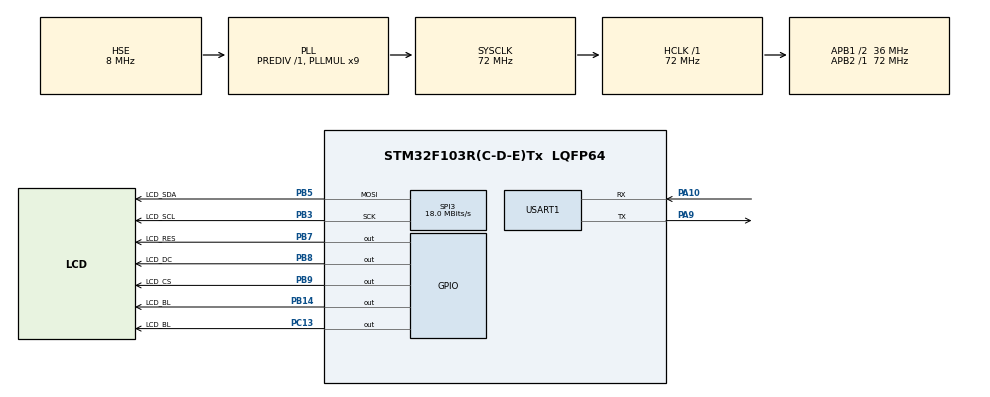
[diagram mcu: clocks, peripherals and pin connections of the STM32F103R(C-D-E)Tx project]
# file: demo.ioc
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Mcu.Family=STM32F1
Mcu.Name=STM32F103R(C-D-E)Tx
Mcu.Package=LQFP64
NVIC.PriorityGroup=NVIC_PRIORITYGROUP_4
NVIC.USART1_IRQn=true\:0\:0\:false\:false\:true\:true\:true\:true
PA10.Mode=Asynchronous
PA10.Signal=USART1_RX
PA13.Mode=Serial_Wire
PA13.Signal=SYS_JTMS-SWDIO
PA14.Mode=Serial_Wire
PA14.Signal=SYS_JTCK-SWCLK
PA9.Mode=Asynchronous
PA9.Signal=USART1_TX
PB14.GPIO_Label=LCD_BL
PB14.Signal=GPIO_Output
PB3.GPIO_Label=LCD_SCL
PB3.Mode=TX_Only_Simplex_Unidirect_Master
PB3.Signal=SPI3_SCK
PB5.GPIO_Label=LCD_SDA
PB5.Mode=TX_Only_Simplex_Unidirect_Master
PB5.Signal=SPI3_MOSI
PB7.GPIO_Label=LCD_RES
PB7.Signal=GPIO_Output
PB8.GPIO_Label=LCD_DC
PB8.Signal=GPIO_Output
PB9.GPIO_Label=LCD_CS
PB9.Signal=GPIO_Output
PC13-TAMPER-RTC.GPIO_Label=LCD_BL
PC13-TAMPER-RTC.Signal=GPIO_Output
PD0-OSC_IN.Mode=HSE-External-Oscillator
PD0-OSC_IN.Signal=RCC_OSC_IN
PD1-OSC_OUT.Mode=HSE-External-Oscillator
PD1-OSC_OUT.Signal=RCC_OSC_OUT
ProjectManager.HeapSize=0x200
ProjectManager.StackSize=0x400
ProjectManager.TargetToolchain=MDK-ARM V5
RCC.AHBFreq_Value=72000000
RCC.APB1CLKDivider=RCC_HCLK_DIV2
RCC.APB1Freq_Value=36000000
RCC.APB1TimFreq_Value=72000000
RCC.APB2Freq_Value=72000000
RCC.APB2TimFreq_Value=72000000
RCC.HCLKFreq_Value=72000000
RCC.PLLMUL=RCC_PLL_MUL9
RCC.PLLSourceVirtual=RCC_PLLSOURCE_HSE
RCC.SYSCLKFreq_VALUE=72000000
RCC.SYSCLKSource=RCC_SYSCLKSOURCE_PLLCLK
RCC.USBFreq_Value=72000000
SPI3.CalculateBaudRate=18.0 MBits/s
SPI3.Direction=SPI_DIRECTION_2LINES
SPI3.Mode=SPI_MODE_MASTER
SPI3.VirtualType=VM_MASTER
USART1.VirtualMode=VM_ASYNC
board=custom

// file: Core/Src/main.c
/* USER CODE BEGIN Header */
/**
 ******************************************************************************
 * @file           : main.c
 * @brief          : Main program body
 ******************************************************************************
 * @attention
 *
 * <h2><center>&copy; Copyright (c) 2022 STMicroelectronics.
 * All rights reserved.</center></h2>
 *
 * This software component is licensed by ST under BSD 3-Clause license,
 * the "License"; You may not use this file except in compliance with the
 * License. You may obtain a copy of the License at:
 *                        opensource.org/licenses/BSD-3-Clause
 *
 ******************************************************************************
 */
/* USER CODE END Header */
#include "main.h"
#include "spi.h"
#include "usart.h"
#include "gpio.h"

/* USER CODE BEGIN Includes */
#include <stdlib.h>
#include "ST7735/images.h"
#include "ST7735/st7735.h"
/* USER CODE END Includes */

void SystemClock_Config(void);

int main(void)
{

  /* MCU Configuration--------------------------------------------------------*/

  /* Reset of all peripherals, Initializes the Flash interface and the Systick. */
  HAL_Init();

  /* Configure the system clock */
  SystemClock_Config();

  /* Initialize all configured peripherals */
  MX_GPIO_Init();
  MX_USART1_UART_Init();
  MX_SPI3_Init();

  /* Infinite loop */
  /* USER CODE BEGIN WHILE */
    srand(8888);
    ST7735_Init();
    HAL_Delay(1000);
    HAL_GPIO_WritePin(LCD_BL_GPIO_Port, LCD_BL_Pin, GPIO_PIN_SET);
    bool     bInvert   = false;
    uint16_t colors[6] = {ST7735_CYAN, ST7735_RED, ST7735_BLUE, ST7735_GREEN, ST7735_YELLOW, ST7735_BLACK};
    while (1) {
        ST7735_FillScreen(ST7735_BLACK);
        HAL_Delay(1000);
        ST7735_WriteString(0, 0, "hello, world", Font_7x10, ST7735_RED, ST7735_WHITE);
        HAL_Delay(1000);
        int n = 50;
        while (--n) {
            ST7735_FillRectangle(
                rand() % 128,
                rand() % 64,
                rand() % 40,
                rand() % 40,
                colors[rand() % 6]);
            HAL_Delay(100);
        }
        HAL_Delay(1000);
        ST7735_InvertColors(bInvert);
        bInvert = !bInvert;
        HAL_Delay(1000);
        ST7735_DrawImage(0, 40, 128, 16, (const uint16_t*)image_16x128);
        HAL_Delay(1000);

    /* USER CODE END WHILE */

    }
}

void SystemClock_Config(void)
{
  RCC_OscInitTypeDef RCC_OscInitStruct = {0};
  RCC_ClkInitTypeDef RCC_ClkInitStruct = {0};

  /** Initializes the RCC Oscillators according to the specified parameters
  * in the RCC_OscInitTypeDef structure.
  */
  RCC_OscInitStruct.OscillatorType = RCC_OSCILLATORTYPE_HSE;
  RCC_OscInitStruct.HSEState = RCC_HSE_ON;
  RCC_OscInitStruct.HSEPredivValue = RCC_HSE_PREDIV_DIV1;
  RCC_OscInitStruct.HSIState = RCC_HSI_ON;
  RCC_OscInitStruct.PLL.PLLState = RCC_PLL_ON;
  RCC_OscInitStruct.PLL.PLLSource = RCC_PLLSOURCE_HSE;
  RCC_OscInitStruct.PLL.PLLMUL = RCC_PLL_MUL9;
  if (HAL_RCC_OscConfig(&RCC_OscInitStruct) != HAL_OK)
  {
    Error_Handler();
  }

  /** Initializes the CPU, AHB and APB buses clocks
  */
  RCC_ClkInitStruct.ClockType = RCC_CLOCKTYPE_HCLK|RCC_CLOCKTYPE_SYSCLK
                              |RCC_CLOCKTYPE_PCLK1|RCC_CLOCKTYPE_PCLK2;
  RCC_ClkInitStruct.SYSCLKSource = RCC_SYSCLKSOURCE_PLLCLK;
  RCC_ClkInitStruct.AHBCLKDivider = RCC_SYSCLK_DIV1;
  RCC_ClkInitStruct.APB1CLKDivider = RCC_HCLK_DIV2;
  RCC_ClkInitStruct.APB2CLKDivider = RCC_HCLK_DIV1;

  if (HAL_RCC_ClockConfig(&RCC_ClkInitStruct, FLASH_LATENCY_2) != HAL_OK)
  {
    Error_Handler();
  }
}

void Error_Handler(void)
{
}
